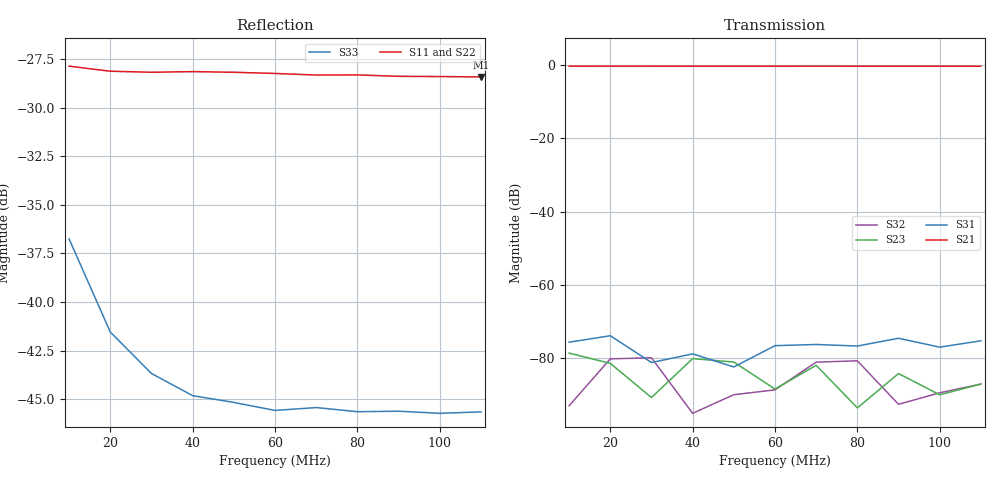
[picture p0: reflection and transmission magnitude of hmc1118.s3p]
! reference: https://www.microwaves101.com/encyclopedias/snp-format
! Device: HMC1118
! Description: SOI MMIC SPDT Non-Reflective Switch
! Package: LP3DE 16 pin 3x3 mm QFN Plastic Package
! Frequency: 9 kHz - 13.00 GHz
! Ports:
! RFC = Port 1
! RF1 = Port 2
! RF2 = Port 3
! State: RF1 Selected
! Supply Voltage:
! Vdd = +3.3 V
! Vss = -2.5 V
! Control Voltages:
! LS = 0 V
! Vctl = +3.3 V
! Data: Data was collected using a calibrated network analyzer with AFR software.
! Fixtures were calculated using AFR and fixturing was applied to collect
! this Deembedded S Parameter data of HMC1118.
! Note: Analog Devices supplies this data as a sample of measured data at the package pin
! for this product. Your particular data for this product may vary.
! Data was taken at 25 degrees C.
! Analog Devices reserves the right to change this data at anytime.
# Hz S dB R 50
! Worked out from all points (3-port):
!   11 points, 10 MHz to 110 MHz, reference 50 ohm
!   strongest paths, dB at 10 MHz, 30 MHz, 60 MHz, 90 MHz, 110 MHz:
!     S21: -0.4, -0.4, -0.4, -0.4, -0.4
!     S31: -75.6, -81.1, -76.5, -74.5, -75.2
!     S23: -78.5, -90.6, -88.3, -84.1, -86.9
!     S32: -92.9, -79.8, -88.5, -92.5, -87.0
!   lowest |S11| = -28.4 dB at 110 MHz (marker M1), VSWR 1.08, Z = 53.9 - j0.269 ohm
!   |S11| at or under -10 dB: start of sweep to end of sweep
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1e7  -27.87 1.9  -0.38 -0.3  -81.96 -34.1
     -0.40 -0.3  -28.20 2.7  -78.53 -148.7
     -75.56 -36.6  -92.87 -107.8  -36.76 73.3
2e7  -28.13 0.5  -0.39 -0.4  -87.00 165.7
     -0.39 -0.4  -28.09 0.6  -81.32 -100.1
     -73.80 -147.9  -80.10 81.1  -41.54 60.5
3e7  -28.18 -0.3  -0.39 -0.5  -83.61 53.5
     -0.39 -0.5  -28.14 -0.5  -90.64 2.6
     -81.10 174.3  -79.81 -87.2  -43.68 49.5
5e7  -28.18 -1.4  -0.39 -0.8  -81.27 87.5
     -0.40 -0.8  -28.18 -1.9  -80.97 -68.9
     -82.31 120.6  -89.86 -91.5  -45.17 38.8
6e7  -28.24 -2.5  -0.40 -0.9  -81.11 54.5
     -0.40 -0.9  -28.20 -2.3  -88.32 -102.2
     -76.50 28.4  -88.54 -20.8  -45.58 32.3
7e7  -28.33 -2.7  -0.40 -1.0  -77.26 91.3
     -0.40 -1.0  -28.21 -2.5  -81.85 32.7
     -76.18 74.9  -80.99 10.7  -45.43 32.0
8e7  -28.32 -2.9  -0.40 -1.2  -77.76 100.2
     -0.41 -1.2  -28.22 -2.7  -93.45 -127.9
     -76.60 89.9  -80.63 -137.1  -45.64 30.8
9e7  -28.39 -3.8  -0.40 -1.3  -76.56 67.3
     -0.41 -1.3  -28.19 -3.0  -84.10 39.4
     -74.49 92.1  -92.48 43.4  -45.62 30.2
1e8  -28.40 -3.6  -0.40 -1.4  -76.97 89.4
     -0.41 -1.4  -28.22 -3.7  -89.89 -128.6
     -76.91 85.1  -89.34 168.5  -45.73 27.9
1.1e8  -28.42 -3.8  -0.40 -1.5  -74.48 80.1
       -0.41 -1.5  -28.24 -4.1  -86.95 -61.6
       -75.18 82.7  -86.96 -87.7  -45.65 27.9
